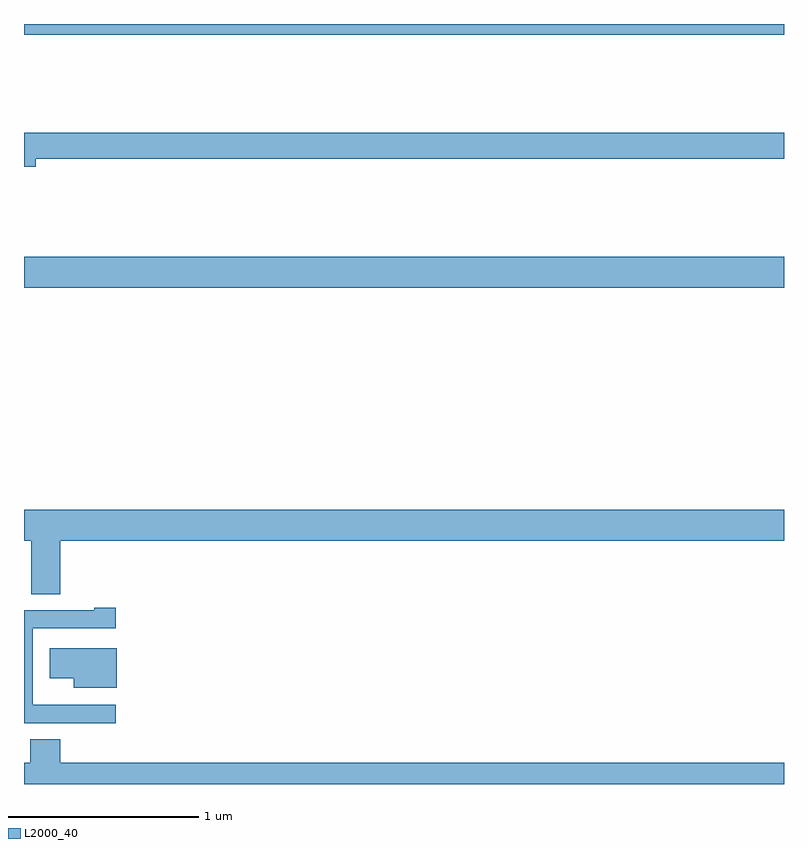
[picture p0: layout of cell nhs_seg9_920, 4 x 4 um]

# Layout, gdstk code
import gdstk
lib = gdstk.Library(unit=1e-6, precision=1e-09)
def R(c, l, rs):  # rectangles x0, y0, x1, y1
    for r in rs: c.add(gdstk.rectangle(r[:2], r[2:], *l))
def P(c, l, *ps):  # polygons
    for p in ps: c.add(gdstk.Polygon(p, *l))
L2000_40 = (2000, 40)

nhs_seg9_920 = lib.new_cell('nhs_seg9_920')
R(nhs_seg9_920, L2000_40, [(161,1171.112,165,1171.276), (161,1172.444,165,1172.5)])
P(nhs_seg9_920, L2000_40, [(161.062,1171.792),(165,1171.792),(165,1171.928),(161,1171.928),(161,1171.75),(161.062,1171.75)],
  [(161.192,1169.78),(165,1169.78),(165,1169.944),(161,1169.944),(161,1169.78),(161.039,1169.78),(161.039,1169.5),(161.192,1169.5)],
  [(161.482,1168.917),(161.048,1168.917),(161.048,1168.918),(161.046,1168.918),(161.046,1169.319),(161.482,1169.319),(161.482,1169.428),(161.369,1169.428),(161.369,1169.415),(161,1169.415),(161,1168.821),(161.482,1168.821)],
  [(161.488,1169.215),(161.136,1169.215),(161.136,1169.057),(161.261,1169.057),(161.261,1169.006),(161.488,1169.006)],
  [(165,1168.612),(161.192,1168.612),(161.192,1168.736),(161.032,1168.736),(161.032,1168.612),(161,1168.612),(161,1168.5),(165,1168.5)])

lib.write_gds('nhs_seg9_920.gds')
